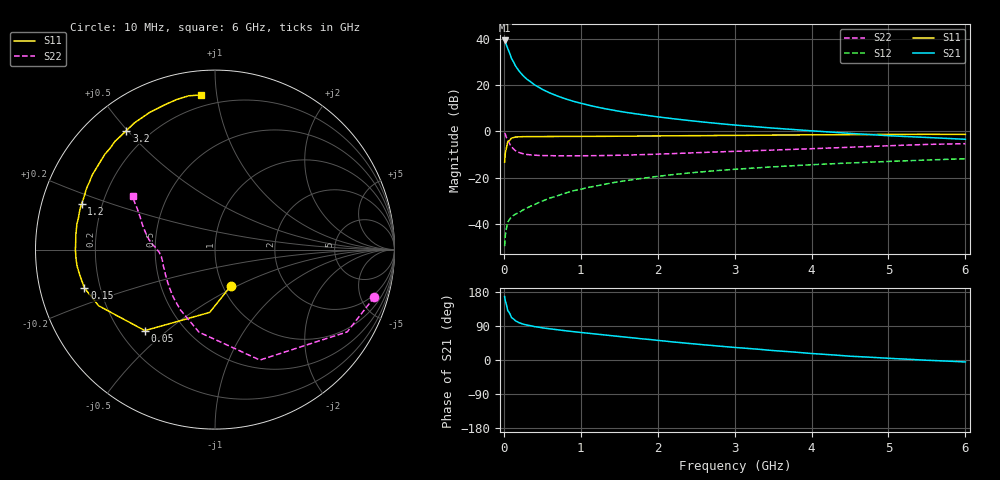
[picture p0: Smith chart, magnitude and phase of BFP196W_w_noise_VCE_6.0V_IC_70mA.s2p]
! Infineon Technologies  Discrete & RF Semiconductors
! BFP196W
! VCE =  6.0 V,  IC =  70 mA
! Common Emitter S-Parameters:  Jan 2017
# GHz  S  MA  R  50
!  f  S11  S21  S12  S22
! GHz  MAG  ANG  MAG  ANG  MAG  ANG  MAG  ANG
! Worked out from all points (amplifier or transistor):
!   77 points, 10 MHz to 6 GHz, reference 50 ohm
!   highest |S21| = 39.2 dB at 10 MHz (marker M1)
!   |S21| within 3 dB of that: start of sweep to 44.71 MHz
!   unconditionally stable (mu >= 1): 597.5 MHz to 3.28 GHz
!   at 130 MHz: K = 0.49, MSG = 32.8 dB, |S12| = -36.0 dB
!   at 2.2 GHz: K = 1.04, MAG = 10.9 dB, |S12| = -18.6 dB
!   at 6 GHz: K = 0.95, MSG = 4.2 dB, |S12| = -11.7 dB
!   lowest NFmin = 1.58 dB at 450 MHz
!   S11 on the Smith chart (normalised r, x): 10 MHz: 1.10, -0.46; 50 MHz: 0.30, -0.42; 150 MHz: 0.14, -0.14; 1.2 GHz: 0.12, +0.16; 3.2 GHz: 0.12, +0.50; 6 GHz: 0.13, +0.91
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0.01  0.2193 -65.8  90.92 167.5  0.0034 79.9  0.9262 -16.6
0.02  0.351 -94.8  84.55 155.2  0.0058 74.2  0.8677 -31.9
0.05  0.597 -130.9  61.15 130.3  0.0112 53.7  0.6642 -67.9
0.1  0.7197 -154.2  37.16 111.7  0.0146 43.9  0.4684 -101.0
0.15  0.7581 -163.6  25.93 103.5  0.0166 45.2  0.387 -120.0
0.2  0.7662 -169.1  19.74 98.3  0.0181 47.1  0.3518 -131.6
0.25  0.7734 -173.0  15.91 94.7  0.0205 49.6  0.331 -140.0
0.3  0.7759 -175.7  13.3 92.2  0.0226 52.0  0.3198 -145.8
0.4  0.7778 -179.9  10.05 88.1  0.0268 57.1  0.3088 -153.7
0.5  0.7773 176.8  8.046 84.9  0.0318 60.0  0.3029 -158.7
0.6  0.7796 174.1  6.729 82.2  0.0369 62.0  0.302 -162.3
0.7  0.7804 171.8  5.764 79.8  0.0415 63.1  0.2992 -165.0
0.9  0.7807 167.2  4.478 74.9  0.0528 64.6  0.2995 -168.6
1.1  0.7853 163.1  3.688 70.6  0.0626 64.9  0.3009 -171.4
1.2  0.7855 161.2  3.381 68.4  0.0673 64.5  0.3014 -172.7
1.6  0.7936 153.6  2.559 60.0  0.088 62.4  0.31 -176.9
2.1  0.8028 144.3  1.971 49.8  0.1131 58.6  0.3297 178.5
3.1  0.8243 128.2  1.334 31.7  0.1572 49.5  0.3782 170.1
3.2  0.8266 126.7  1.295 30.1  0.1612 48.6  0.383 169.1
4.1  0.8475 114.1  1.007 15.8  0.1959 40.8  0.4318 160.3
5.1  0.8639 103.4  0.796 3.5  0.2296 32.7  0.4992 151.3
6  0.865 95.0  0.679 -5.2  0.259 25.7  0.5461 146.7
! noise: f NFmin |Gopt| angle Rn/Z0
0.45  1.58  0.55  -175  0.06
0.9  1.7  0.58  -169  0.07
1.9  2.54  0.7  -148  0.18
2.4  2.95  0.74  -143  0.3
